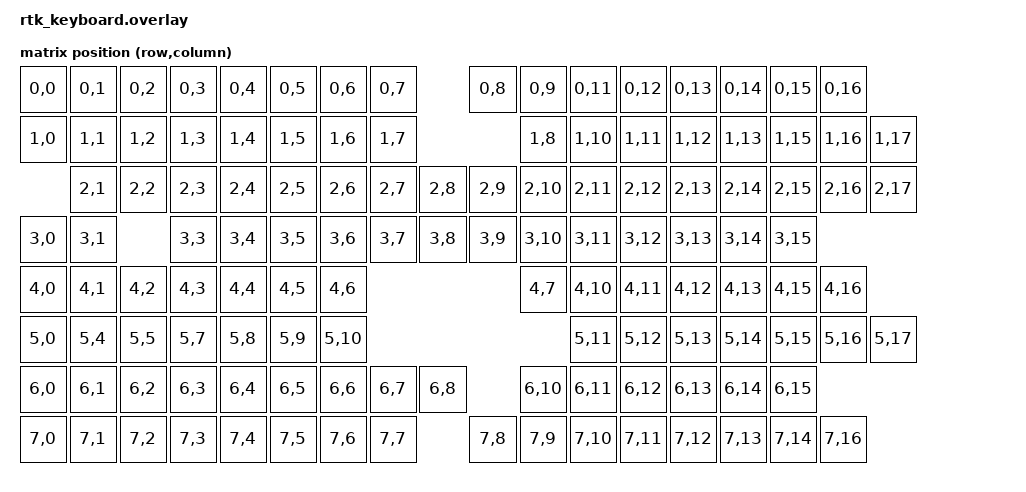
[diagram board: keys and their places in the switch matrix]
#include <dt-bindings/zmk/matrix_transform.h>
#include <dt-bindings/led/led.h>
#include <zephyr/dt-bindings/gpio/realtek-rtl87x2g-gpio.h>

&gpioa {
    status = "okay";
};
&gpiob {
    status = "okay";
};
&usb {
    status = "okay";
};
&timer2 {
    status = "okay";
    prescaler = <1>;
    pwm2: pwm2 {
        status = "okay";
        pinctrl-0 = <&pwm2_default>;
        pinctrl-names = "default";
    };
};
&timer3 {
    status = "okay";
    prescaler = <1>;
    pwm3: pwm3 {
        status = "okay";
        pinctrl-0 = <&pwm3_default>;
        pinctrl-names = "default";
    };
};

&timer4 {
    status = "okay";
    prescaler = <1>;
    pwm4: pwm4 {
        status = "okay";
        pinctrl-0 = <&pwm4_default>;
        pinctrl-names = "default";
    };
};

&timer8 {
    status = "okay";
};

&timer9 {
    status = "okay";
};

&corewdt {
	status = "okay";
    initial-timeout-ms = <5000>;
};

/ {
	aliases {
		watchdog = &corewdt;
	};
};

&pinctrl {
	pwm2_default: pwm2_default {
		group1 {
			psels = <RTL87X2G_PSEL(TIMER_PWM2, P2_4,DIR_OUT, DRV_LOW, PULL_DOWN)>;
		};
	};
	pwm3_default: pwm3_default {
		group1 {
			psels = <RTL87X2G_PSEL(TIMER_PWM3, P2_3,DIR_OUT, DRV_LOW, PULL_DOWN)>;
		};
	};
	pwm4_default: pwm4_default {
		group1 {
			psels = <RTL87X2G_PSEL(TIMER_PWM4, P9_3,DIR_OUT, DRV_LOW, PULL_DOWN)>;
		};
	};
};

&adc {
    pinctrl-0 = <&adc_default>;
    pinctrl-names = "default";
    #address-cells = <1>;
    #size-cells = <0>;
    status = "okay";
    is-bypass-mode;
    channel@2 {
        reg = <2>;
        zephyr,gain = "ADC_GAIN_1";
        zephyr,reference = "ADC_REF_INTERNAL";
        zephyr,acquisition-time = <ADC_ACQ_TIME_DEFAULT>;
        zephyr,resolution = <12>;
    };
};	
/ {
    chosen {
        zmk,kscan = &kscan;
        zmk,matrix-transform = &default_transform;
        zmk,battery = &vbatt;
        //zmk,backlight = &backlight;
    };

    vbatt: vbatt {
        compatible = "zmk,battery-voltage-divider";
        io-channels = <&adc 2>;
        output-ohms = <100000>;
        full-ohms = <(100000 + 100000)>;
    };

    battery_pwm_leds: pwmleds {
        compatible = "pwm-leds";
        pwm_led_0 {
            pwms = <&pwm2 0 10000 PWM_POLARITY_INVERTED>;
        };
        pwm_led_1 {
            pwms = <&pwm3 0 10000 PWM_POLARITY_INVERTED>;
        };
        pwm_led_2 {
            pwms = <&pwm4 0 10000 PWM_POLARITY_INVERTED>;
        };
    };

    mode_monitor: mode_monitor {
        compatible = "zmk,mode-monitor-pin";
        ble-gpios = <&gpioa 9 (GPIO_ACTIVE_HIGH | RTL87X2G_GPIO_INPUT_DEBOUNCE_MS(8))>;
        ppt-gpios = <&gpioa 8 (GPIO_ACTIVE_HIGH | RTL87X2G_GPIO_INPUT_DEBOUNCE_MS(8))>;
        detect-usb-gpios = <&gpiob 28 (GPIO_ACTIVE_HIGH | RTL87X2G_GPIO_INPUT_DEBOUNCE_MS(20))>;
    };

	ppt: ppt {
		compatible = "zmk,ppt-node";
		enh-timers = <&timer8 &timer9>;
		status = "okay";
	};

    gpio_leds: gpio_leds {
        compatible = "zmk,gpio-leds-all";
        pwr-gpios = <&gpiob 29 GPIO_ACTIVE_HIGH>;
        cap-gpios = <&gpioa 16 GPIO_ACTIVE_HIGH>;
        num-gpios = <&gpioa 28 GPIO_ACTIVE_HIGH>;
        ble-gpios = <&gpioa 27 GPIO_ACTIVE_HIGH>;
        ppt-gpios = <&gpioa 26 GPIO_ACTIVE_HIGH>;
        other-gpios = <&gpioa 25 GPIO_ACTIVE_HIGH>,
                      <&gpioa 24 GPIO_ACTIVE_HIGH>,
                      <&gpioa 23 GPIO_ACTIVE_HIGH>;
    };

    default_transform: matrix_transform {
        compatible = "zmk,matrix-transform";
        rows = <8>;
        columns = <18>;
        map = <
            RC(0,0) RC(0,1) RC(0,2) RC(0,3) RC(0,4) RC(0,5) RC(0,6) RC(0,7) RC(0,8) RC(0,9)          RC(0,11) RC(0,12) RC(0,13) RC(0,14) RC(0,15) RC(0,16)
            RC(1,0) RC(1,1) RC(1,2) RC(1,3) RC(1,4) RC(1,5) RC(1,6) RC(1,7) RC(1,8)         RC(1,10) RC(1,11) RC(1,12) RC(1,13)          RC(1,15) RC(1,16) RC(1,17)
                    RC(2,1) RC(2,2) RC(2,3) RC(2,4) RC(2,5) RC(2,6) RC(2,7) RC(2,8) RC(2,9) RC(2,10) RC(2,11) RC(2,12) RC(2,13) RC(2,14) RC(2,15) RC(2,16) RC(2,17) 
            RC(3,0) RC(3,1)         RC(3,3) RC(3,4) RC(3,5) RC(3,6) RC(3,7) RC(3,8) RC(3,9) RC(3,10) RC(3,11) RC(3,12) RC(3,13) RC(3,14) RC(3,15) 
            RC(4,0) RC(4,1) RC(4,2) RC(4,3) RC(4,4) RC(4,5) RC(4,6) RC(4,7)                 RC(4,10) RC(4,11) RC(4,12) RC(4,13)          RC(4,15) RC(4,16) 
            RC(5,0)                         RC(5,4) RC(5,5)         RC(5,7) RC(5,8) RC(5,9) RC(5,10) RC(5,11) RC(5,12) RC(5,13) RC(5,14) RC(5,15) RC(5,16) RC(5,17)
            RC(6,0) RC(6,1) RC(6,2) RC(6,3) RC(6,4) RC(6,5) RC(6,6) RC(6,7) RC(6,8)         RC(6,10) RC(6,11) RC(6,12) RC(6,13) RC(6,14) RC(6,15) 
            RC(7,0) RC(7,1) RC(7,2) RC(7,3) RC(7,4) RC(7,5) RC(7,6) RC(7,7) RC(7,8) RC(7,9) RC(7,10) RC(7,11) RC(7,12) RC(7,13) RC(7,14)          RC(7,16)
        >;
    };
 };

&kscan {
    pinctrl-0 = <&kscan_default>;
    pinctrl-names = "default";
    row-size = <8>;
    col-size = <18>;
    debounce-time-us = <10000>;
    scan-time-us = <10000>;
    release-time-us = <10000>;
    scan-debounce-cnt = <1>;
    status = "okay";
};

&pinctrl {
    adc_default: adc_default {
        group1 {
             psels = <RTL87X2G_PSEL(SW_MODE, P2_2, DIR_IN, DRV_LOW, PULL_NONE)>;
        };
    };
    kscan_default: kscan_default {
        group1 {
            psels = <RTL87X2G_PSEL(KEY_COL_0, P0_4, DIR_OUT, DRV_LOW, PULL_NONE)>,
            <RTL87X2G_PSEL(KEY_COL_1, P4_3, DIR_OUT, DRV_LOW, PULL_NONE)>,
			<RTL87X2G_PSEL(KEY_COL_2, P4_2, DIR_OUT, DRV_LOW, PULL_NONE)>,
			<RTL87X2G_PSEL(KEY_COL_3, P4_1, DIR_OUT, DRV_LOW, PULL_NONE)>,
			<RTL87X2G_PSEL(KEY_COL_4, P4_0, DIR_OUT, DRV_LOW, PULL_NONE)>,
			<RTL87X2G_PSEL(KEY_COL_5, P0_6, DIR_OUT, DRV_LOW, PULL_NONE)>,
			<RTL87X2G_PSEL(KEY_COL_6, P0_5, DIR_OUT, DRV_LOW, PULL_NONE)>,
			<RTL87X2G_PSEL(KEY_COL_7, P9_0, DIR_OUT, DRV_LOW, PULL_NONE)>,
			<RTL87X2G_PSEL(KEY_COL_8, P6_7, DIR_OUT, DRV_LOW, PULL_NONE)>,
			<RTL87X2G_PSEL(KEY_COL_9, P1_2, DIR_OUT, DRV_LOW, PULL_NONE)>,
			<RTL87X2G_PSEL(KEY_COL_10, P6_5, DIR_OUT, DRV_LOW, PULL_NONE)>,
			<RTL87X2G_PSEL(KEY_COL_11, P6_3, DIR_OUT, DRV_LOW, PULL_NONE)>,
			<RTL87X2G_PSEL(KEY_COL_12, P6_2, DIR_OUT, DRV_LOW, PULL_NONE)>,
			<RTL87X2G_PSEL(KEY_COL_13, P6_1, DIR_OUT, DRV_LOW, PULL_NONE)>,
			<RTL87X2G_PSEL(KEY_COL_14, P9_1, DIR_OUT, DRV_LOW, PULL_NONE)>,
			<RTL87X2G_PSEL(KEY_COL_15, P6_4, DIR_OUT, DRV_LOW, PULL_NONE)>,
			<RTL87X2G_PSEL(KEY_COL_16, P0_2, DIR_OUT, DRV_LOW, PULL_NONE)>,
			<RTL87X2G_PSEL(KEY_COL_17, P0_1, DIR_OUT, DRV_LOW, PULL_NONE)>;
        };
        group2 {
            psels =							
            <RTL87X2G_PSEL(KEY_ROW_0, P0_0, DIR_IN, DRV_LOW, PULL_UP)>,
            <RTL87X2G_PSEL(KEY_ROW_1, P1_7, DIR_IN, DRV_LOW, PULL_UP)>,
            <RTL87X2G_PSEL(KEY_ROW_2, P1_5, DIR_IN, DRV_LOW, PULL_UP)>,
            <RTL87X2G_PSEL(KEY_ROW_3, P3_7, DIR_IN, DRV_LOW, PULL_UP)>,			
            <RTL87X2G_PSEL(KEY_ROW_4, P3_6, DIR_IN, DRV_LOW, PULL_UP)>,
            <RTL87X2G_PSEL(KEY_ROW_5, P3_5, DIR_IN, DRV_LOW, PULL_UP)>,
            <RTL87X2G_PSEL(KEY_ROW_6, P3_4, DIR_IN, DRV_LOW, PULL_UP)>,
            <RTL87X2G_PSEL(KEY_ROW_7, P3_3, DIR_IN, DRV_LOW, PULL_UP)>;
            bias-pull-strong;
        };

		};
};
